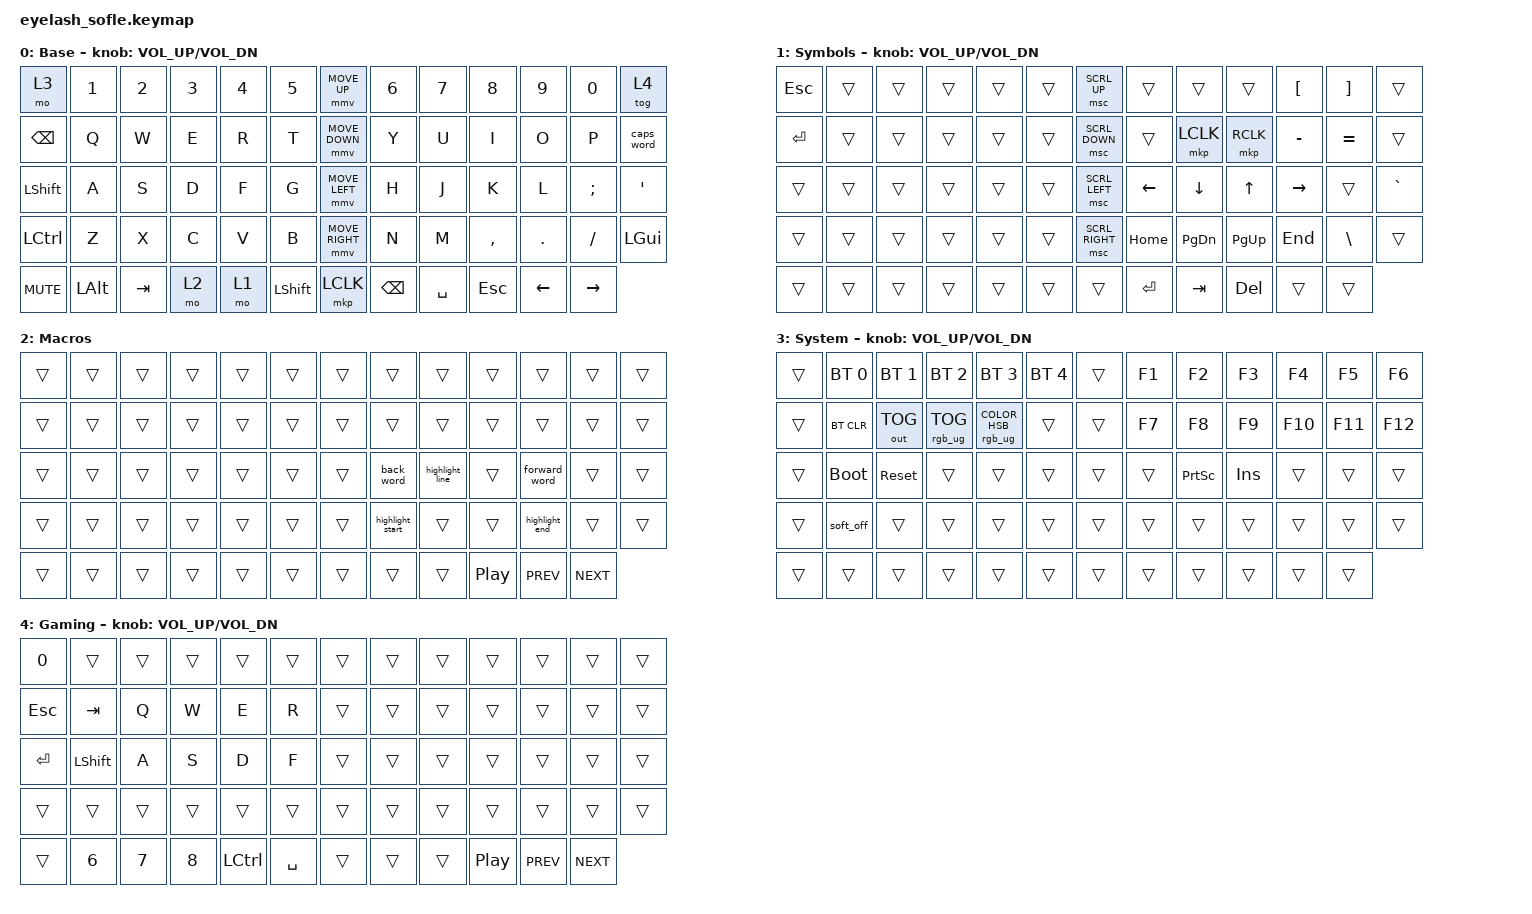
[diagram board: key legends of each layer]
#define ZMK_POINTING_DEFAULT_MOVE_VAL 1200  // 600
#define ZMK_POINTING_DEFAULT_SCRL_VAL 25   // 10

#include <input/processors.dtsi>
#include <zephyr/dt-bindings/input/input-event-codes.h>
#include <behaviors.dtsi>
#include <dt-bindings/zmk/bt.h>
#include <dt-bindings/zmk/keys.h>
#include <dt-bindings/zmk/outputs.h>
#include <dt-bindings/zmk/pointing.h>
#include <dt-bindings/zmk/rgb.h>

&mmv_input_listener { input-processors = <&zip_xy_scaler 2 1>; };

&msc_input_listener { input-processors = <&zip_scroll_scaler 2 1>; };

&msc {
    acceleration-exponent = <1>;      // 0
    time-to-max-speed-ms = <100>;       // 300
    delay-ms = <0>;                   // 0
};

&mmv {
    time-to-max-speed-ms = <500>;
    acceleration-exponent = <1>;
    trigger-period-ms = <16>;
};

/ {
    scroll_encoder: scroll_encoder {
        compatible = "zmk,behavior-sensor-rotate";
        #sensor-binding-cells = <0>;
        bindings = <&msc SCRL_DOWN>, <&msc SCRL_UP>;

        tap-ms = <100>;
    };

    behaviors {
        caps_word: caps_word {
            compatible = "zmk,behavior-caps-word";
            label = "Caps Word";
        };
    };

    macros {
        highlight_start: highlight_start {
            compatible = "zmk,behavior-macro";
            #binding-cells = <0>;
            bindings =
                <&macro_press &kp LEFT_SHIFT>,
                <&macro_tap &kp HOME>,
                <&macro_release &kp LEFT_SHIFT>;

            label = "HIGHLIGHT_START";
        };

        highlight_end: highlight_end {
            compatible = "zmk,behavior-macro";
            #binding-cells = <0>;
            bindings =
                <&macro_press &kp LEFT_SHIFT>,
                <&macro_tap &kp END>,
                <&macro_release &kp LEFT_SHIFT>;

            label = "HIGHLIGHT_END";
        };

        highlight_line: highlight_line {
            compatible = "zmk,behavior-macro";
            #binding-cells = <0>;
            bindings =
                <&macro_tap &kp HOME>,
                <&macro_press &kp LEFT_SHIFT>,
                <&macro_tap &kp END>,
                <&macro_release &kp LEFT_SHIFT>;

            label = "HIGHLIGHT_LINE";
        };

        back_word: back_word {
            compatible = "zmk,behavior-macro";
            #binding-cells = <0>;
            bindings =
                <&macro_press &kp LEFT_CONTROL>,
                <&macro_tap &kp LEFT_ARROW>,
                <&macro_release &kp LEFT_CONTROL>;

            label = "BACK_WORD";
        };

        forward_word: forward_word {
            compatible = "zmk,behavior-macro";
            #binding-cells = <0>;
            bindings =
                <&macro_press &kp LEFT_CONTROL>,
                <&macro_tap &kp RIGHT_ARROW>,
                <&macro_release &kp LEFT_CONTROL>;

            label = "FORWARD_WORD";
        };
    };

    keymap {
        compatible = "zmk,keymap";

        Base {
            bindings = <
&mo 3           &kp N1        &kp N2   &kp N3  &kp N4  &kp N5            &mmv MOVE_UP     &kp N6         &kp N7     &kp N8     &kp N9    &kp N0     &tog 4
&kp BACKSPACE   &kp Q         &kp W    &kp E   &kp R   &kp T             &mmv MOVE_DOWN   &kp Y          &kp U      &kp I      &kp O     &kp P      &caps_word
&kp LEFT_SHIFT  &kp A         &kp S    &kp D   &kp F   &kp G             &mmv MOVE_LEFT   &kp H          &kp J      &kp K      &kp L     &kp SEMI   &kp SINGLE_QUOTE
&kp LCTRL       &kp Z         &kp X    &kp C   &kp V   &kp B             &mmv MOVE_RIGHT  &kp N          &kp M      &kp COMMA  &kp DOT   &kp FSLH   &kp LEFT_GUI
&kp C_MUTE      &kp LEFT_ALT  &kp TAB  &mo 2   &mo 1   &kp LEFT_SHIFT    &mkp LCLK        &kp BACKSPACE  &kp SPACE  &kp ESC    &kp LEFT  &kp RIGHT
            >;

            sensor-bindings = <&inc_dec_kp C_VOLUME_UP C_VOL_DN>;
        };

        Symbols {
            bindings = <
&kp ESC    &trans  &trans  &trans  &trans  &trans    &msc SCRL_UP     &trans          &trans          &trans        &kp LEFT_BRACKET  &kp RIGHT_BRACKET  &trans
&kp ENTER  &trans  &trans  &trans  &trans  &trans    &msc SCRL_DOWN   &trans          &mkp LCLK       &mkp RCLK     &kp MINUS         &kp EQUAL          &trans
&trans     &trans  &trans  &trans  &trans  &trans    &msc SCRL_LEFT   &kp LEFT_ARROW  &kp DOWN_ARROW  &kp UP_ARROW  &kp RIGHT_ARROW   &trans             &kp GRAVE
&trans     &trans  &trans  &trans  &trans  &trans    &msc SCRL_RIGHT  &kp HOME        &kp PAGE_DOWN   &kp PAGE_UP   &kp END           &kp BACKSLASH      &trans
&trans     &trans  &trans  &trans  &trans  &trans    &trans           &kp ENTER       &kp TAB         &kp DEL       &trans            &trans
            >;

            sensor-bindings = <&inc_dec_kp C_VOLUME_UP C_VOL_DN>;
        };

        Macros {
            bindings = <
&trans  &trans  &trans  &trans  &trans  &trans    &trans  &trans            &trans           &trans            &trans          &trans      &trans
&trans  &trans  &trans  &trans  &trans  &trans    &trans  &trans            &trans           &trans            &trans          &trans      &trans
&trans  &trans  &trans  &trans  &trans  &trans    &trans  &back_word        &highlight_line  &trans            &forward_word   &trans      &trans
&trans  &trans  &trans  &trans  &trans  &trans    &trans  &highlight_start  &trans           &trans            &highlight_end  &trans      &trans
&trans  &trans  &trans  &trans  &trans  &trans    &trans  &trans            &trans           &kp C_PLAY_PAUSE  &kp C_PREV      &kp C_NEXT
            >;
        };

        System {
            bindings = <
&trans  &bt BT_SEL 0  &bt BT_SEL 1  &bt BT_SEL 2     &bt BT_SEL 3                    &bt BT_SEL 4    &trans  &kp F1  &kp F2           &kp F3      &kp F4   &kp F5   &kp F6
&trans  &bt BT_CLR    &out OUT_TOG  &rgb_ug RGB_TOG  &rgb_ug RGB_COLOR_HSB(0,0,100)  &trans          &trans  &kp F7  &kp F8           &kp F9      &kp F10  &kp F11  &kp F12
&trans  &bootloader   &sys_reset    &trans           &trans                          &trans          &trans  &trans  &kp PRINTSCREEN  &kp INSERT  &trans   &trans   &trans
&trans  &soft_off     &trans        &trans           &trans                          &trans          &trans  &trans  &trans           &trans      &trans   &trans   &trans
&trans  &trans        &trans        &trans           &trans                          &trans          &trans  &trans  &trans           &trans      &trans   &trans
            >;

            sensor-bindings = <&inc_dec_kp C_VOLUME_UP C_VOL_DN>;
        };

        Gaming {
            bindings = <
&kp N0      &trans          &trans  &trans  &trans            &trans       &trans  &trans  &trans  &trans            &trans      &trans      &trans
&kp ESCAPE  &kp TAB         &kp Q   &kp W   &kp E             &kp R        &trans  &trans  &trans  &trans            &trans      &trans      &trans
&kp ENTER   &kp LEFT_SHIFT  &kp A   &kp S   &kp D             &kp F        &trans  &trans  &trans  &trans            &trans      &trans      &trans
&trans      &trans          &trans  &trans  &trans            &trans       &trans  &trans  &trans  &trans            &trans      &trans      &trans
&trans      &kp N6          &kp N7  &kp N8  &kp LEFT_CONTROL  &kp SPACE    &trans  &trans  &trans  &kp C_PLAY_PAUSE  &kp C_PREV  &kp C_NEXT
            >;

            sensor-bindings = <&inc_dec_kp C_VOLUME_UP C_VOL_DN>;
        };
    };
};
